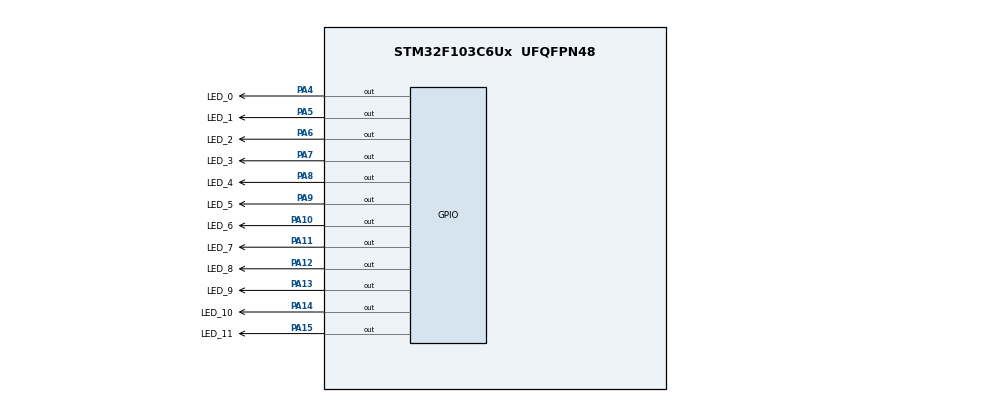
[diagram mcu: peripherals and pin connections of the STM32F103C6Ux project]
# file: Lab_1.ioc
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Mcu.Family=STM32F1
Mcu.Name=STM32F103C6Ux
Mcu.Package=UFQFPN48
NVIC.PriorityGroup=NVIC_PRIORITYGROUP_4
PA10.GPIO_Label=LED_6
PA10.Signal=GPIO_Output
PA11.GPIO_Label=LED_7
PA11.Signal=GPIO_Output
PA12.GPIO_Label=LED_8
PA12.Signal=GPIO_Output
PA13.GPIO_Label=LED_9
PA13.Signal=GPIO_Output
PA14.GPIO_Label=LED_10
PA14.Signal=GPIO_Output
PA15.GPIO_Label=LED_11
PA15.Signal=GPIO_Output
PA4.GPIO_Label=LED_0
PA4.Signal=GPIO_Output
PA5.GPIO_Label=LED_1
PA5.Signal=GPIO_Output
PA6.GPIO_Label=LED_2
PA6.Signal=GPIO_Output
PA7.GPIO_Label=LED_3
PA7.Signal=GPIO_Output
PA8.GPIO_Label=LED_4
PA8.Signal=GPIO_Output
PA9.GPIO_Label=LED_5
PA9.Signal=GPIO_Output
ProjectManager.HeapSize=0x200
ProjectManager.StackSize=0x400
ProjectManager.TargetToolchain=STM32CubeIDE
RCC.APB1Freq_Value=8000000
RCC.APB2Freq_Value=8000000
VP_SYS_VS_ND.Mode=No_Debug
board=custom

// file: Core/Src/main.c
/* USER CODE BEGIN Header */
/**
  ******************************************************************************
  * @file           : main.c
  * @brief          : Main program body
  ******************************************************************************
  * @attention
  *
  * <h2><center>&copy; Copyright (c) 2025 STMicroelectronics.
  * All rights reserved.</center></h2>
  *
  * This software component is licensed by ST under BSD 3-Clause license,
  * the "License"; You may not use this file except in compliance with the
  * License. You may obtain a copy of the License at:
  *                        opensource.org/licenses/BSD-3-Clause
  *
  ******************************************************************************
  */
/* USER CODE END Header */
#include "main.h"

void SystemClock_Config(void);
static void MX_GPIO_Init(void);

int main(void)
{

  /* MCU Configuration--------------------------------------------------------*/

  /* Reset of all peripherals, Initializes the Flash interface and the Systick. */
  HAL_Init();

  /* Configure the system clock */
  SystemClock_Config();

  /* Initialize all configured peripherals */
  MX_GPIO_Init();
  /* USER CODE BEGIN 2 */
  int led_index = 0;
  int time_counter = 100;
  /* USER CODE END 2 */

  /* Infinite loop */
  /* USER CODE BEGIN WHILE */
  while (1)
  {
	  if (time_counter <= 0) {
	          time_counter = 100;
	          led_index++;
	          if (led_index > 11) {
	              led_index = 0;
	          }
	      }

	      // set all led
	      HAL_GPIO_WritePin(GPIOA, LED_0_Pin | LED_1_Pin | LED_2_Pin | LED_3_Pin |
	                               LED_4_Pin | LED_5_Pin | LED_6_Pin | LED_7_Pin |
	                               LED_8_Pin | LED_9_Pin | LED_10_Pin | LED_11_Pin,
	                               GPIO_PIN_SET);

	      switch(led_index) {
	          case 0: HAL_GPIO_WritePin(LED_0_GPIO_Port, LED_0_Pin, GPIO_PIN_RESET); break;
	          case 1: HAL_GPIO_WritePin(LED_1_GPIO_Port, LED_1_Pin, GPIO_PIN_RESET); break;
	          case 2: HAL_GPIO_WritePin(LED_2_GPIO_Port, LED_2_Pin, GPIO_PIN_RESET); break;
	          case 3: HAL_GPIO_WritePin(LED_3_GPIO_Port, LED_3_Pin, GPIO_PIN_RESET); break;
	          case 4: HAL_GPIO_WritePin(LED_4_GPIO_Port, LED_4_Pin, GPIO_PIN_RESET); break;
	          case 5: HAL_GPIO_WritePin(LED_5_GPIO_Port, LED_5_Pin, GPIO_PIN_RESET); break;
	          case 6: HAL_GPIO_WritePin(LED_6_GPIO_Port, LED_6_Pin, GPIO_PIN_RESET); break;
	          case 7: HAL_GPIO_WritePin(LED_7_GPIO_Port, LED_7_Pin, GPIO_PIN_RESET); break;
	          case 8: HAL_GPIO_WritePin(LED_8_GPIO_Port, LED_8_Pin, GPIO_PIN_RESET); break;
	          case 9: HAL_GPIO_WritePin(LED_9_GPIO_Port, LED_9_Pin, GPIO_PIN_RESET); break;
	          case 10: HAL_GPIO_WritePin(LED_10_GPIO_Port, LED_10_Pin, GPIO_PIN_RESET); break;
	          case 11: HAL_GPIO_WritePin(LED_11_GPIO_Port, LED_11_Pin, GPIO_PIN_RESET); break;
	      }

	      time_counter--;
	      HAL_Delay(10);
    /* USER CODE END WHILE */

  }
}

void SystemClock_Config(void)
{
  RCC_OscInitTypeDef RCC_OscInitStruct = {0};
  RCC_ClkInitTypeDef RCC_ClkInitStruct = {0};

  /** Initializes the RCC Oscillators according to the specified parameters
  * in the RCC_OscInitTypeDef structure.
  */
  RCC_OscInitStruct.OscillatorType = RCC_OSCILLATORTYPE_HSI;
  RCC_OscInitStruct.HSIState = RCC_HSI_ON;
  RCC_OscInitStruct.HSICalibrationValue = RCC_HSICALIBRATION_DEFAULT;
  RCC_OscInitStruct.PLL.PLLState = RCC_PLL_NONE;
  if (HAL_RCC_OscConfig(&RCC_OscInitStruct) != HAL_OK)
  {
    Error_Handler();
  }
  /** Initializes the CPU, AHB and APB buses clocks
  */
  RCC_ClkInitStruct.ClockType = RCC_CLOCKTYPE_HCLK|RCC_CLOCKTYPE_SYSCLK
                              |RCC_CLOCKTYPE_PCLK1|RCC_CLOCKTYPE_PCLK2;
  RCC_ClkInitStruct.SYSCLKSource = RCC_SYSCLKSOURCE_HSI;
  RCC_ClkInitStruct.AHBCLKDivider = RCC_SYSCLK_DIV1;
  RCC_ClkInitStruct.APB1CLKDivider = RCC_HCLK_DIV1;
  RCC_ClkInitStruct.APB2CLKDivider = RCC_HCLK_DIV1;

  if (HAL_RCC_ClockConfig(&RCC_ClkInitStruct, FLASH_LATENCY_0) != HAL_OK)
  {
    Error_Handler();
  }
}

static void MX_GPIO_Init(void)
{
  GPIO_InitTypeDef GPIO_InitStruct = {0};

  /* GPIO Ports Clock Enable */
  __HAL_RCC_GPIOA_CLK_ENABLE();

  /*Configure GPIO pin Output Level */
  HAL_GPIO_WritePin(GPIOA, LED_0_Pin|LED_1_Pin|LED_2_Pin|LED_3_Pin
                          |LED_4_Pin|LED_5_Pin|LED_6_Pin|LED_7_Pin
                          |LED_8_Pin|LED_9_Pin|LED_10_Pin|LED_11_Pin, GPIO_PIN_RESET);

  /*Configure GPIO pins : LED_0_Pin LED_1_Pin LED_2_Pin LED_3_Pin
                           LED_4_Pin LED_5_Pin LED_6_Pin LED_7_Pin
                           LED_8_Pin LED_9_Pin LED_10_Pin LED_11_Pin */
  GPIO_InitStruct.Pin = LED_0_Pin|LED_1_Pin|LED_2_Pin|LED_3_Pin
                          |LED_4_Pin|LED_5_Pin|LED_6_Pin|LED_7_Pin
                          |LED_8_Pin|LED_9_Pin|LED_10_Pin|LED_11_Pin;
  GPIO_InitStruct.Mode = GPIO_MODE_OUTPUT_PP;
  GPIO_InitStruct.Pull = GPIO_NOPULL;
  GPIO_InitStruct.Speed = GPIO_SPEED_FREQ_LOW;
  HAL_GPIO_Init(GPIOA, &GPIO_InitStruct);

}

void Error_Handler(void)
{
  __disable_irq();
  while (1)
  {
  }
}

/************************ (C) COPYRIGHT STMicroelectronics *****END OF FILE****/
